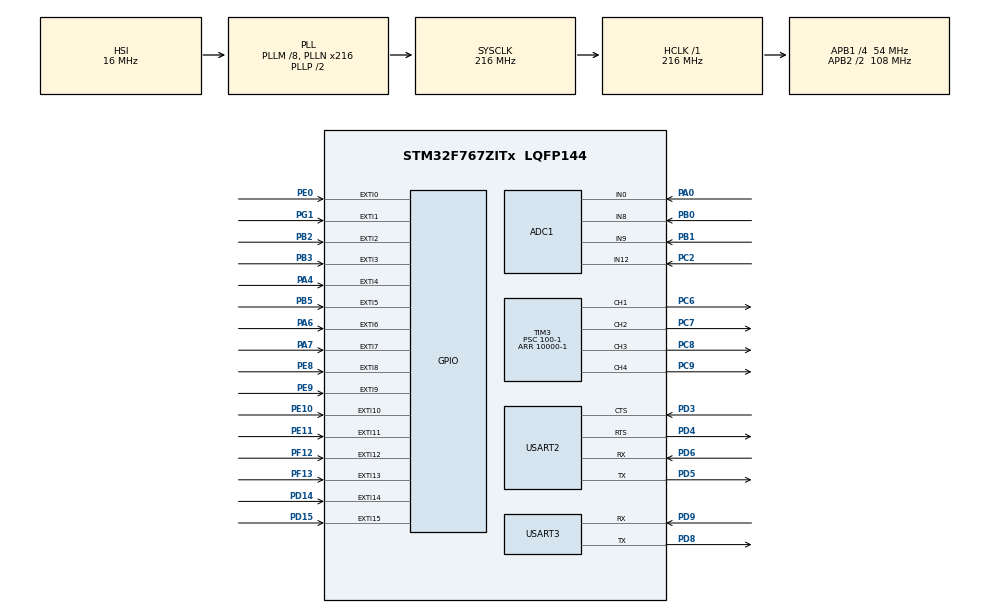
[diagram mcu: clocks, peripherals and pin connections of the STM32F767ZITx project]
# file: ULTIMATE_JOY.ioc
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ADC1.Channel-0\#ChannelRegularConversion=ADC_CHANNEL_0
ADC1.Channel-1\#ChannelRegularConversion=ADC_CHANNEL_8
ADC1.Channel-2\#ChannelRegularConversion=ADC_CHANNEL_9
ADC1.Channel-3\#ChannelRegularConversion=ADC_CHANNEL_12
ADC1.ClockPrescaler=ADC_CLOCK_SYNC_PCLK_DIV8
ADC1.ContinuousConvMode=ENABLE
ADC1.DMAContinuousRequests=ENABLE
ADC1.DiscontinuousConvMode=DISABLE
ADC1.NbrOfConversion=4
ADC1.NbrOfConversionFlag=1
ADC1.Rank-0\#ChannelRegularConversion=1
ADC1.Rank-1\#ChannelRegularConversion=2
ADC1.Rank-2\#ChannelRegularConversion=3
ADC1.Rank-3\#ChannelRegularConversion=4
ADC1.SamplingTime-0\#ChannelRegularConversion=ADC_SAMPLETIME_15CYCLES
ADC1.SamplingTime-1\#ChannelRegularConversion=ADC_SAMPLETIME_15CYCLES
ADC1.SamplingTime-2\#ChannelRegularConversion=ADC_SAMPLETIME_15CYCLES
ADC1.SamplingTime-3\#ChannelRegularConversion=ADC_SAMPLETIME_15CYCLES
ADC1.ScanConvMode=ADC_SCAN_ENABLE
ADC1.master=1
Dma.ADC1.0.Direction=DMA_PERIPH_TO_MEMORY
Dma.ADC1.0.FIFOMode=DMA_FIFOMODE_ENABLE
Dma.ADC1.0.FIFOThreshold=DMA_FIFO_THRESHOLD_FULL
Dma.ADC1.0.Instance=DMA2_Stream0
Dma.ADC1.0.MemBurst=DMA_MBURST_SINGLE
Dma.ADC1.0.MemDataAlignment=DMA_MDATAALIGN_WORD
Dma.ADC1.0.MemInc=DMA_MINC_ENABLE
Dma.ADC1.0.Mode=DMA_CIRCULAR
Dma.ADC1.0.PeriphBurst=DMA_PBURST_SINGLE
Dma.ADC1.0.PeriphDataAlignment=DMA_PDATAALIGN_WORD
Dma.ADC1.0.PeriphInc=DMA_PINC_DISABLE
Dma.ADC1.0.Priority=DMA_PRIORITY_LOW
Dma.Request0=ADC1
Mcu.Family=STM32F7
Mcu.Name=STM32F767ZITx
Mcu.Package=LQFP144
NVIC.DMA2_Stream0_IRQn=true\:1\:0\:true\:false\:true\:false\:true\:true
NVIC.EXTI0_IRQn=true\:1\:0\:true\:false\:true\:true\:true\:true
NVIC.EXTI15_10_IRQn=true\:1\:0\:true\:false\:true\:true\:true\:true
NVIC.EXTI1_IRQn=true\:1\:0\:true\:false\:true\:true\:true\:true
NVIC.EXTI2_IRQn=true\:1\:0\:true\:false\:true\:true\:true\:true
NVIC.EXTI3_IRQn=true\:1\:0\:true\:false\:true\:true\:true\:true
NVIC.EXTI4_IRQn=true\:1\:0\:true\:false\:true\:true\:true\:true
NVIC.EXTI9_5_IRQn=true\:1\:0\:true\:false\:true\:true\:true\:true
NVIC.PriorityGroup=NVIC_PRIORITYGROUP_2
NVIC.USART2_IRQn=true\:1\:0\:true\:false\:true\:true\:true\:true
NVIC.USART3_IRQn=true\:1\:0\:true\:false\:true\:true\:true\:true
PA0/WKUP.Signal=ADCx_IN0
PA4.GPIO_ModeDefaultEXTI=GPIO_MODE_IT_RISING_FALLING
PA4.GPIO_PuPd=GPIO_PULLDOWN
PA4.Signal=GPXTI4
PA5.Signal=S_TIM2_CH1_ETR
PA6.GPIO_ModeDefaultEXTI=GPIO_MODE_IT_RISING_FALLING
PA6.GPIO_PuPd=GPIO_PULLDOWN
PA6.Signal=GPXTI6
PA7.GPIO_ModeDefaultEXTI=GPIO_MODE_IT_RISING_FALLING
PA7.GPIO_PuPd=GPIO_PULLDOWN
PA7.Signal=GPXTI7
PB0.Signal=ADCx_IN8
PB1.Signal=ADCx_IN9
PB10.Signal=S_TIM2_CH3
PB11.Signal=S_TIM2_CH4
PB2.GPIO_ModeDefaultEXTI=GPIO_MODE_IT_RISING_FALLING
PB2.GPIO_PuPd=GPIO_PULLDOWN
PB2.Signal=GPXTI2
PB3.GPIO_ModeDefaultEXTI=GPIO_MODE_IT_RISING_FALLING
PB3.GPIO_PuPd=GPIO_PULLDOWN
PB3.Signal=GPXTI3
PB5.GPIO_ModeDefaultEXTI=GPIO_MODE_IT_RISING_FALLING
PB5.GPIO_PuPd=GPIO_PULLDOWN
PB5.Signal=GPXTI5
PC2.Signal=ADCx_IN12
PC6.Signal=S_TIM3_CH1
PC7.Signal=S_TIM3_CH2
PC8.Signal=S_TIM3_CH3
PC9.Signal=S_TIM3_CH4
PD14.GPIO_ModeDefaultEXTI=GPIO_MODE_IT_RISING_FALLING
PD14.GPIO_PuPd=GPIO_PULLDOWN
PD14.Signal=GPXTI14
PD15.GPIO_ModeDefaultEXTI=GPIO_MODE_IT_RISING_FALLING
PD15.GPIO_PuPd=GPIO_PULLDOWN
PD15.Signal=GPXTI15
PD3.Mode=CTS_RTS
PD3.Signal=USART2_CTS
PD4.Mode=CTS_RTS
PD4.Signal=USART2_RTS
PD5.Mode=Asynchronous
PD5.Signal=USART2_TX
PD6.Mode=Asynchronous
PD6.Signal=USART2_RX
PD8.Mode=Asynchronous
PD8.Signal=USART3_TX
PD9.Mode=Asynchronous
PD9.Signal=USART3_RX
PE0.GPIO_ModeDefaultEXTI=GPIO_MODE_IT_RISING_FALLING
PE0.GPIO_PuPd=GPIO_PULLDOWN
PE0.Signal=GPXTI0
PE10.GPIO_ModeDefaultEXTI=GPIO_MODE_IT_RISING_FALLING
PE10.GPIO_PuPd=GPIO_PULLDOWN
PE10.Signal=GPXTI10
PE11.GPIO_ModeDefaultEXTI=GPIO_MODE_IT_RISING_FALLING
PE11.GPIO_PuPd=GPIO_PULLDOWN
PE11.Signal=GPXTI11
PE8.GPIO_ModeDefaultEXTI=GPIO_MODE_IT_RISING_FALLING
PE8.GPIO_PuPd=GPIO_PULLDOWN
PE8.Signal=GPXTI8
PE9.GPIO_ModeDefaultEXTI=GPIO_MODE_IT_RISING_FALLING
PE9.GPIO_PuPd=GPIO_PULLDOWN
PE9.Signal=GPXTI9
PF12.GPIO_ModeDefaultEXTI=GPIO_MODE_IT_RISING_FALLING
PF12.GPIO_PuPd=GPIO_PULLDOWN
PF12.Signal=GPXTI12
PF13.GPIO_ModeDefaultEXTI=GPIO_MODE_IT_RISING_FALLING
PF13.GPIO_PuPd=GPIO_PULLDOWN
PF13.Signal=GPXTI13
PG1.GPIO_ModeDefaultEXTI=GPIO_MODE_IT_RISING_FALLING
PG1.GPIO_PuPd=GPIO_PULLDOWN
PG1.Signal=GPXTI1
ProjectManager.HeapSize=0x200
ProjectManager.StackSize=0x400
ProjectManager.TargetToolchain=STM32CubeIDE
RCC.AHBFreq_Value=216000000
RCC.APB1CLKDivider=RCC_HCLK_DIV4
RCC.APB1Freq_Value=54000000
RCC.APB1TimFreq_Value=108000000
RCC.APB2CLKDivider=RCC_HCLK_DIV2
RCC.APB2Freq_Value=108000000
RCC.APB2TimFreq_Value=216000000
RCC.CortexFreq_Value=216000000
RCC.HCLKFreq_Value=216000000
RCC.HSE_VALUE=25000000
RCC.HSI_VALUE=16000000
RCC.LSE_VALUE=32768
RCC.PLLM=8
RCC.PLLN=216
RCC.SYSCLKFreq_VALUE=216000000
RCC.SYSCLKSource=RCC_SYSCLKSOURCE_PLLCLK
RCC.USBFreq_Value=216000000
RCC.VCOOutputFreq_Value=432000000
SH.ADCx_IN0.0=ADC1_IN0,IN0
SH.ADCx_IN12.0=ADC1_IN12,IN12
SH.ADCx_IN8.0=ADC1_IN8,IN8
SH.ADCx_IN9.0=ADC1_IN9,IN9
SH.S_TIM2_CH1_ETR.0=TIM2_CH1
SH.S_TIM2_CH3.0=TIM2_CH3
SH.S_TIM2_CH4.0=TIM2_CH4
SH.S_TIM3_CH1.0=TIM3_CH1,PWM Generation1 CH1
SH.S_TIM3_CH2.0=TIM3_CH2,PWM Generation2 CH2
SH.S_TIM3_CH3.0=TIM3_CH3,PWM Generation3 CH3
SH.S_TIM3_CH4.0=TIM3_CH4,PWM Generation4 CH4
TIM3.Channel-PWM\ Generation1\ CH1=TIM_CHANNEL_1
TIM3.Channel-PWM\ Generation2\ CH2=TIM_CHANNEL_2
TIM3.Channel-PWM\ Generation3\ CH3=TIM_CHANNEL_3
TIM3.Channel-PWM\ Generation4\ CH4=TIM_CHANNEL_4
TIM3.Period=10000-1
TIM3.Prescaler=100-1
TIM3.Pulse-PWM\ Generation1\ CH1=10000/4 - 1
TIM3.Pulse-PWM\ Generation2\ CH2=10000/4 - 1
TIM3.Pulse-PWM\ Generation3\ CH3=10000/4 - 1
TIM3.Pulse-PWM\ Generation4\ CH4=10000/4 - 1
USART2.VirtualMode-Asynchronous=VM_ASYNC
USART3.VirtualMode-Asynchronous=VM_ASYNC
board=custom

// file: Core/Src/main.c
/* USER CODE BEGIN Header */
/**
 ******************************************************************************
 * @file           : main.c
 * @brief          : Main program body
 ******************************************************************************
 * @attention
 *
 * Copyright (c) 2023 STMicroelectronics.
 * All rights reserved.
 *
 * This software is licensed under terms that can be found in the LICENSE file
 * in the root directory of this software component.
 * If no LICENSE file comes with this software, it is provided AS-IS.
 *
 ******************************************************************************
 */
/* USER CODE END Header */
#include "main.h"

/* USER CODE BEGIN Includes */
#include "strings.h"
#include "button.h"
#include <stdarg.h>
/* USER CODE END Includes */

ADC_HandleTypeDef hadc1;
DMA_HandleTypeDef hdma_adc1;

TIM_HandleTypeDef htim3;

UART_HandleTypeDef huart2;
UART_HandleTypeDef huart3;

void SystemClock_Config(void);
static void MX_GPIO_Init(void);
static void MX_DMA_Init(void);
static void MX_ADC1_Init(void);
static void MX_USART3_UART_Init(void);
static void MX_USART2_UART_Init(void);
static void MX_TIM3_Init(void);

/* USER CODE BEGIN 0 */
void sendString(UART_HandleTypeDef huart, char *tosend) {
	while (__HAL_UART_GET_FLAG(&huart,UART_FLAG_TC) == RESET) {
	}
	HAL_UART_Transmit(&huart, (uint8_t*) tosend, strlen(tosend),
	HAL_MAX_DELAY);
}

void DEBUGPRINTF(const char *format, ...) {
	static char buffer[500]; // You can adjust the buffer size as needed
	va_list args;
	va_start(args, format);
	vsnprintf(buffer, sizeof(buffer), format, args);
	va_end(args);
	sendString(huart3, buffer);
}
#define COMMAND_SIZE 5
volatile uint8_t command[COMMAND_SIZE] = { 0 };
volatile int16_t forces[2] = { 0 };
void writeVibration() {
	// 0 is X axis
	if (forces[0] > 0) {
		htim3.Instance->CCR1 = (10000 - 1) * forces[0] / 255;
	} else if (forces[0] < 0) {
		htim3.Instance->CCR2 = (10000 - 1) * (-forces[0]) / 255;
	}

	if (forces[1] > 0) {
		htim3.Instance->CCR3 = (10000 - 1) * forces[1] / 255;
	} else if (forces[1] < 0) {
		htim3.Instance->CCR4 = (10000 - 1) * (-forces[1]) / 255;
	}
}
void setcmd_Button(uint8_t button, uint8_t state) {
	command[0] = 2;
	command[1] = button;
	command[2] = state;
	command[3] = 0;
	command[4] = 0;
}
void setcmd_LeftXY(uint16_t x, uint16_t y) {
	command[0] = 0;
	command[1] = x >> 8;
	command[2] = x & 0xFF;
	command[3] = y >> 8;
	command[4] = y & 0xFF;
}
void setcmd_RightXY(uint16_t x, uint16_t y) {
	setcmd_LeftXY(x, y);
	command[0] = 1;
}

void sendCommand() {
	while (__HAL_UART_GET_FLAG(&huart2,UART_FLAG_TC) == RESET) {
	}
	HAL_UART_Transmit(&huart2, (uint8_t*) command, COMMAND_SIZE,
	HAL_MAX_DELAY);
}

uint8_t Rx_uart3[COMMAND_SIZE];
uint8_t Rx_uart2[COMMAND_SIZE];
// receive vibration force info
void HAL_UART_RxCpltCallback(UART_HandleTypeDef *huart) {
	if (huart->Instance == USART2) {
		if (Rx_uart2[0] == 3) {
			forces[0] = (Rx_uart2[1] << 8) | Rx_uart2[2];
			forces[1] = (Rx_uart2[3] << 8) | Rx_uart2[4];
		}
		DEBUGPRINTF("Vibrate event:%d %d\n", forces[0], forces[1]);
		writeVibration();
		HAL_UART_Receive_IT(huart, Rx_uart2, COMMAND_SIZE);
	}
}
#define adc_channel_count 4
volatile uint32_t adc_dma_result[adc_channel_count];
uint16_t prevStickState[adc_channel_count] = { 0 };
void HAL_ADC_ConvCpltCallback(ADC_HandleTypeDef *hadc) {
	HAL_ADC_Stop_DMA(&hadc1);
	uint16_t x = adc_dma_result[0] / 4;
	uint16_t y = adc_dma_result[1] / 4;
	uint16_t Rx = adc_dma_result[2] / 4;
	uint16_t Ry = adc_dma_result[3] / 4;
	if (prevStickState[0] != x || prevStickState[1] != y) {
		prevStickState[0] = x;
		prevStickState[1] = y;
		setcmd_LeftXY(x, 1023 - y);
		sendCommand();
		HAL_Delay(3);
	}
	if (prevStickState[2] != Rx || prevStickState[3] != Ry) {
		prevStickState[2] = Rx;
		prevStickState[3] = Ry;
		setcmd_RightXY(Rx, 1023 - Ry);
		sendCommand();
		HAL_Delay(3);
	}
	HAL_Delay(3);
	HAL_ADC_Start_DMA(&hadc1, (uint32_t*) adc_dma_result, adc_channel_count);
}

// GPIO_EXT_0-15

void HAL_GPIO_EXTI_Callback(uint16_t GPIO_Pin) {

	ButtonStateEvent ev = onButtonPinINT(GPIO_Pin);
	if (ev.button == 0xFF)
		return;
	setcmd_Button(ev.button, ev.state);
	sendCommand();
	DEBUGPRINTF("%u %u\n", ev.button, ev.state);
}
/* USER CODE END 0 */

int main(void) {

	/* MCU Configuration--------------------------------------------------------*/

	/* Reset of all peripherals, Initializes the Flash interface and the Systick. */
	HAL_Init();

	/* Configure the system clock */
	SystemClock_Config();

	/* Initialize all configured peripherals */
	MX_GPIO_Init();
	MX_DMA_Init();
	MX_ADC1_Init();
	MX_USART3_UART_Init();
	MX_USART2_UART_Init();
	MX_TIM3_Init();

	/* Infinite loop */
	/* USER CODE BEGIN WHILE */
	HAL_ADC_Start_DMA(&hadc1, (uint32_t*) adc_dma_result, adc_channel_count);
	HAL_UART_Receive_IT(&huart2, Rx_uart2, COMMAND_SIZE);
	HAL_TIM_PWM_Start(&htim3, TIM_CHANNEL_1);
	HAL_TIM_PWM_Start(&htim3, TIM_CHANNEL_2);
	HAL_TIM_PWM_Start(&htim3, TIM_CHANNEL_3);
	HAL_TIM_PWM_Start(&htim3, TIM_CHANNEL_4);
	while (1) {
		/* USER CODE END WHILE */

		/* USER CODE BEGIN 3 */
		// joy stress test
//		for (int i = 0; i < 1023; i+=100) {
//			for (int j = 0; j < 1023; j+=4) {
//				setcmd_LeftXY(i, j);
//				sendCommand();
//				HAL_Delay(2);
//				setcmd_RightXY(i, j);
//				sendCommand();
//				HAL_Delay(2);
//			}
//		}
//		// pwm works
//		for (float inten = 0; inten < 1; inten += 0.1) {
//			htim3.Instance->CCR1 = (10000 - 1) * inten;
//			htim3.Instance->CCR2 = (10000 - 1) * inten;
//			htim3.Instance->CCR3 = (10000 - 1) * inten;
//			htim3.Instance->CCR4 = (10000 - 1) * inten;
//			HAL_Delay(100);
//		}
//		sendString(huart3, "HELLO\n");
//		HAL_Delay(1000);
	}
	/* USER CODE END 3 */
}

void SystemClock_Config(void) {
	RCC_OscInitTypeDef RCC_OscInitStruct = { 0 };
	RCC_ClkInitTypeDef RCC_ClkInitStruct = { 0 };

	/** Configure the main internal regulator output voltage
	 */
	__HAL_RCC_PWR_CLK_ENABLE();
	__HAL_PWR_VOLTAGESCALING_CONFIG(PWR_REGULATOR_VOLTAGE_SCALE1);

	/** Initializes the RCC Oscillators according to the specified parameters
	 * in the RCC_OscInitTypeDef structure.
	 */
	RCC_OscInitStruct.OscillatorType = RCC_OSCILLATORTYPE_HSI;
	RCC_OscInitStruct.HSIState = RCC_HSI_ON;
	RCC_OscInitStruct.HSICalibrationValue = RCC_HSICALIBRATION_DEFAULT;
	RCC_OscInitStruct.PLL.PLLState = RCC_PLL_ON;
	RCC_OscInitStruct.PLL.PLLSource = RCC_PLLSOURCE_HSI;
	RCC_OscInitStruct.PLL.PLLM = 8;
	RCC_OscInitStruct.PLL.PLLN = 216;
	RCC_OscInitStruct.PLL.PLLP = RCC_PLLP_DIV2;
	RCC_OscInitStruct.PLL.PLLQ = 2;
	RCC_OscInitStruct.PLL.PLLR = 2;
	if (HAL_RCC_OscConfig(&RCC_OscInitStruct) != HAL_OK) {
		Error_Handler();
	}

	/** Activate the Over-Drive mode
	 */
	if (HAL_PWREx_EnableOverDrive() != HAL_OK) {
		Error_Handler();
	}

	/** Initializes the CPU, AHB and APB buses clocks
	 */
	RCC_ClkInitStruct.ClockType = RCC_CLOCKTYPE_HCLK | RCC_CLOCKTYPE_SYSCLK
			| RCC_CLOCKTYPE_PCLK1 | RCC_CLOCKTYPE_PCLK2;
	RCC_ClkInitStruct.SYSCLKSource = RCC_SYSCLKSOURCE_PLLCLK;
	RCC_ClkInitStruct.AHBCLKDivider = RCC_SYSCLK_DIV1;
	RCC_ClkInitStruct.APB1CLKDivider = RCC_HCLK_DIV4;
	RCC_ClkInitStruct.APB2CLKDivider = RCC_HCLK_DIV2;

	if (HAL_RCC_ClockConfig(&RCC_ClkInitStruct, FLASH_LATENCY_7) != HAL_OK) {
		Error_Handler();
	}
}

static void MX_ADC1_Init(void) {

	ADC_ChannelConfTypeDef sConfig = { 0 };

	/** Configure the global features of the ADC (Clock, Resolution, Data Alignment and number of conversion)
	 */
	hadc1.Instance = ADC1;
	hadc1.Init.ClockPrescaler = ADC_CLOCK_SYNC_PCLK_DIV8;
	hadc1.Init.Resolution = ADC_RESOLUTION_12B;
	hadc1.Init.ScanConvMode = ADC_SCAN_ENABLE;
	hadc1.Init.ContinuousConvMode = ENABLE;
	hadc1.Init.DiscontinuousConvMode = DISABLE;
	hadc1.Init.ExternalTrigConvEdge = ADC_EXTERNALTRIGCONVEDGE_NONE;
	hadc1.Init.ExternalTrigConv = ADC_SOFTWARE_START;
	hadc1.Init.DataAlign = ADC_DATAALIGN_RIGHT;
	hadc1.Init.NbrOfConversion = 4;
	hadc1.Init.DMAContinuousRequests = ENABLE;
	hadc1.Init.EOCSelection = ADC_EOC_SINGLE_CONV;
	if (HAL_ADC_Init(&hadc1) != HAL_OK) {
		Error_Handler();
	}

	/** Configure for the selected ADC regular channel its corresponding rank in the sequencer and its sample time.
	 */
	sConfig.Channel = ADC_CHANNEL_0;
	sConfig.Rank = ADC_REGULAR_RANK_1;
	sConfig.SamplingTime = ADC_SAMPLETIME_15CYCLES;
	if (HAL_ADC_ConfigChannel(&hadc1, &sConfig) != HAL_OK) {
		Error_Handler();
	}

	/** Configure for the selected ADC regular channel its corresponding rank in the sequencer and its sample time.
	 */
	sConfig.Channel = ADC_CHANNEL_8;
	sConfig.Rank = ADC_REGULAR_RANK_2;
	if (HAL_ADC_ConfigChannel(&hadc1, &sConfig) != HAL_OK) {
		Error_Handler();
	}

	/** Configure for the selected ADC regular channel its corresponding rank in the sequencer and its sample time.
	 */
	sConfig.Channel = ADC_CHANNEL_9;
	sConfig.Rank = ADC_REGULAR_RANK_3;
	if (HAL_ADC_ConfigChannel(&hadc1, &sConfig) != HAL_OK) {
		Error_Handler();
	}

	/** Configure for the selected ADC regular channel its corresponding rank in the sequencer and its sample time.
	 */
	sConfig.Channel = ADC_CHANNEL_12;
	sConfig.Rank = ADC_REGULAR_RANK_4;
	if (HAL_ADC_ConfigChannel(&hadc1, &sConfig) != HAL_OK) {
		Error_Handler();
	}

}

static void MX_TIM3_Init(void) {

	TIM_MasterConfigTypeDef sMasterConfig = { 0 };
	TIM_OC_InitTypeDef sConfigOC = { 0 };

	htim3.Instance = TIM3;
	htim3.Init.Prescaler = 100 - 1;
	htim3.Init.CounterMode = TIM_COUNTERMODE_UP;
	htim3.Init.Period = 10000 - 1;
	htim3.Init.ClockDivision = TIM_CLOCKDIVISION_DIV1;
	htim3.Init.AutoReloadPreload = TIM_AUTORELOAD_PRELOAD_DISABLE;
	if (HAL_TIM_PWM_Init(&htim3) != HAL_OK) {
		Error_Handler();
	}
	sMasterConfig.MasterOutputTrigger = TIM_TRGO_RESET;
	sMasterConfig.MasterSlaveMode = TIM_MASTERSLAVEMODE_DISABLE;
	if (HAL_TIMEx_MasterConfigSynchronization(&htim3, &sMasterConfig)
			!= HAL_OK) {
		Error_Handler();
	}
	sConfigOC.OCMode = TIM_OCMODE_PWM1;
	sConfigOC.Pulse = 10000 / 4 - 1;
	sConfigOC.OCPolarity = TIM_OCPOLARITY_HIGH;
	sConfigOC.OCFastMode = TIM_OCFAST_DISABLE;
	if (HAL_TIM_PWM_ConfigChannel(&htim3, &sConfigOC, TIM_CHANNEL_1)
			!= HAL_OK) {
		Error_Handler();
	}
	if (HAL_TIM_PWM_ConfigChannel(&htim3, &sConfigOC, TIM_CHANNEL_2)
			!= HAL_OK) {
		Error_Handler();
	}
	if (HAL_TIM_PWM_ConfigChannel(&htim3, &sConfigOC, TIM_CHANNEL_3)
			!= HAL_OK) {
		Error_Handler();
	}
	if (HAL_TIM_PWM_ConfigChannel(&htim3, &sConfigOC, TIM_CHANNEL_4)
			!= HAL_OK) {
		Error_Handler();
	}
	HAL_TIM_MspPostInit(&htim3);

}

static void MX_USART2_UART_Init(void) {

	huart2.Instance = USART2;
	huart2.Init.BaudRate = 115200;
	huart2.Init.WordLength = UART_WORDLENGTH_8B;
	huart2.Init.StopBits = UART_STOPBITS_1;
	huart2.Init.Parity = UART_PARITY_NONE;
	huart2.Init.Mode = UART_MODE_TX_RX;
	huart2.Init.HwFlowCtl = UART_HWCONTROL_RTS_CTS;
	huart2.Init.OverSampling = UART_OVERSAMPLING_16;
	huart2.Init.OneBitSampling = UART_ONE_BIT_SAMPLE_DISABLE;
	huart2.AdvancedInit.AdvFeatureInit = UART_ADVFEATURE_NO_INIT;
	if (HAL_UART_Init(&huart2) != HAL_OK) {
		Error_Handler();
	}

}

static void MX_USART3_UART_Init(void) {

	huart3.Instance = USART3;
	huart3.Init.BaudRate = 115200;
	huart3.Init.WordLength = UART_WORDLENGTH_8B;
	huart3.Init.StopBits = UART_STOPBITS_1;
	huart3.Init.Parity = UART_PARITY_NONE;
	huart3.Init.Mode = UART_MODE_TX_RX;
	huart3.Init.HwFlowCtl = UART_HWCONTROL_NONE;
	huart3.Init.OverSampling = UART_OVERSAMPLING_16;
	huart3.Init.OneBitSampling = UART_ONE_BIT_SAMPLE_DISABLE;
	huart3.AdvancedInit.AdvFeatureInit = UART_ADVFEATURE_NO_INIT;
	if (HAL_UART_Init(&huart3) != HAL_OK) {
		Error_Handler();
	}

}

static void MX_DMA_Init(void) {

	/* DMA controller clock enable */
	__HAL_RCC_DMA2_CLK_ENABLE();

	/* DMA interrupt init */
	/* DMA2_Stream0_IRQn interrupt configuration */
	HAL_NVIC_SetPriority(DMA2_Stream0_IRQn, 1, 0);
	HAL_NVIC_EnableIRQ(DMA2_Stream0_IRQn);

}

static void MX_GPIO_Init(void) {
	GPIO_InitTypeDef GPIO_InitStruct = { 0 };

	/* GPIO Ports Clock Enable */
	__HAL_RCC_GPIOC_CLK_ENABLE();
	__HAL_RCC_GPIOA_CLK_ENABLE();
	__HAL_RCC_GPIOB_CLK_ENABLE();
	__HAL_RCC_GPIOF_CLK_ENABLE();
	__HAL_RCC_GPIOG_CLK_ENABLE();
	__HAL_RCC_GPIOE_CLK_ENABLE();
	__HAL_RCC_GPIOD_CLK_ENABLE();

	/*Configure GPIO pins : PA4 PA6 PA7 */
	GPIO_InitStruct.Pin = GPIO_PIN_4 | GPIO_PIN_6 | GPIO_PIN_7;
	GPIO_InitStruct.Mode = GPIO_MODE_IT_RISING_FALLING;
	GPIO_InitStruct.Pull = GPIO_PULLDOWN;
	HAL_GPIO_Init(GPIOA, &GPIO_InitStruct);

	/*Configure GPIO pin : PA5 */
	GPIO_InitStruct.Pin = GPIO_PIN_5;
	GPIO_InitStruct.Mode = GPIO_MODE_AF_PP;
	GPIO_InitStruct.Pull = GPIO_NOPULL;
	GPIO_InitStruct.Speed = GPIO_SPEED_FREQ_LOW;
	GPIO_InitStruct.Alternate = GPIO_AF1_TIM2;
	HAL_GPIO_Init(GPIOA, &GPIO_InitStruct);

	/*Configure GPIO pins : PB2 PB3 PB5 */
	GPIO_InitStruct.Pin = GPIO_PIN_2 | GPIO_PIN_3 | GPIO_PIN_5;
	GPIO_InitStruct.Mode = GPIO_MODE_IT_RISING_FALLING;
	GPIO_InitStruct.Pull = GPIO_PULLDOWN;
	HAL_GPIO_Init(GPIOB, &GPIO_InitStruct);

	/*Configure GPIO pins : PF12 PF13 */
	GPIO_InitStruct.Pin = GPIO_PIN_12 | GPIO_PIN_13;
	GPIO_InitStruct.Mode = GPIO_MODE_IT_RISING_FALLING;
	GPIO_InitStruct.Pull = GPIO_PULLDOWN;
	HAL_GPIO_Init(GPIOF, &GPIO_InitStruct);

	/*Configure GPIO pin : PG1 */
	GPIO_InitStruct.Pin = GPIO_PIN_1;
	GPIO_InitStruct.Mode = GPIO_MODE_IT_RISING_FALLING;
	GPIO_InitStruct.Pull = GPIO_PULLDOWN;
	HAL_GPIO_Init(GPIOG, &GPIO_InitStruct);

	/*Configure GPIO pins : PE8 PE9 PE10 PE11
	 PE0 */
	GPIO_InitStruct.Pin = GPIO_PIN_8 | GPIO_PIN_9 | GPIO_PIN_10 | GPIO_PIN_11
			| GPIO_PIN_0;
	GPIO_InitStruct.Mode = GPIO_MODE_IT_RISING_FALLING;
	GPIO_InitStruct.Pull = GPIO_PULLDOWN;
	HAL_GPIO_Init(GPIOE, &GPIO_InitStruct);

	/*Configure GPIO pins : PB10 PB11 */
	GPIO_InitStruct.Pin = GPIO_PIN_10 | GPIO_PIN_11;
	GPIO_InitStruct.Mode = GPIO_MODE_AF_PP;
	GPIO_InitStruct.Pull = GPIO_NOPULL;
	GPIO_InitStruct.Speed = GPIO_SPEED_FREQ_LOW;
	GPIO_InitStruct.Alternate = GPIO_AF1_TIM2;
	HAL_GPIO_Init(GPIOB, &GPIO_InitStruct);

	/*Configure GPIO pins : PD14 PD15 */
	GPIO_InitStruct.Pin = GPIO_PIN_14 | GPIO_PIN_15;
	GPIO_InitStruct.Mode = GPIO_MODE_IT_RISING_FALLING;
	GPIO_InitStruct.Pull = GPIO_PULLDOWN;
	HAL_GPIO_Init(GPIOD, &GPIO_InitStruct);

	/* EXTI interrupt init*/
	HAL_NVIC_SetPriority(EXTI0_IRQn, 1, 0);
	HAL_NVIC_EnableIRQ(EXTI0_IRQn);

	HAL_NVIC_SetPriority(EXTI1_IRQn, 1, 0);
	HAL_NVIC_EnableIRQ(EXTI1_IRQn);

	HAL_NVIC_SetPriority(EXTI2_IRQn, 1, 0);
	HAL_NVIC_EnableIRQ(EXTI2_IRQn);

	HAL_NVIC_SetPriority(EXTI3_IRQn, 1, 0);
	HAL_NVIC_EnableIRQ(EXTI3_IRQn);

	HAL_NVIC_SetPriority(EXTI4_IRQn, 1, 0);
	HAL_NVIC_EnableIRQ(EXTI4_IRQn);

	HAL_NVIC_SetPriority(EXTI9_5_IRQn, 1, 0);
	HAL_NVIC_EnableIRQ(EXTI9_5_IRQn);

	HAL_NVIC_SetPriority(EXTI15_10_IRQn, 1, 0);
	HAL_NVIC_EnableIRQ(EXTI15_10_IRQn);

}

void Error_Handler(void) {
	__disable_irq();
	while (1) {
	}
}
